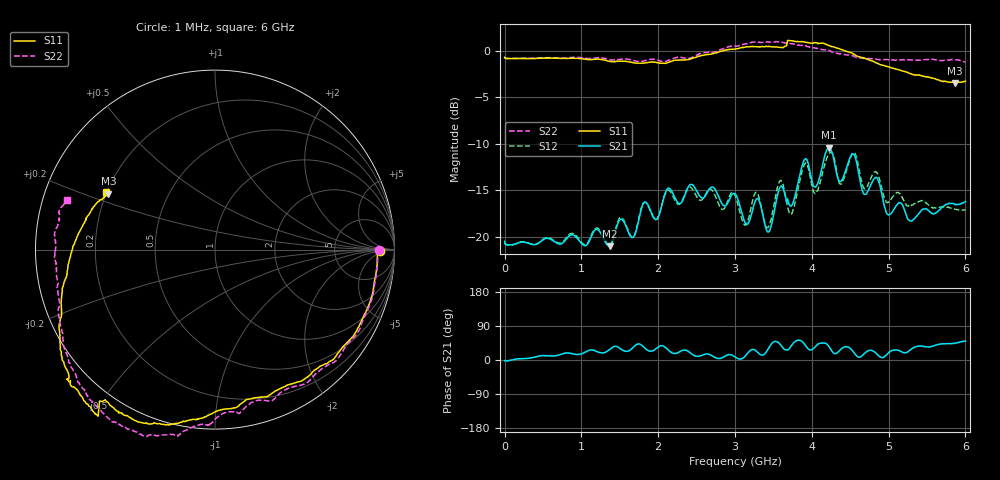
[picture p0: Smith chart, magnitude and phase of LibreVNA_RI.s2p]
# GHZ RI RI R 50.000000000000
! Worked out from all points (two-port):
!   501 points, 1 MHz to 6 GHz, reference 50 ohm
!   highest |S21| = -10.43 dB at 4.224 GHz (marker M1); lowest = -21.0 dB at 1.369 GHz (marker M2)
!   |S21| within 3 dB of the highest: 4.109 GHz to 4.33 GHz (220.3 MHz wide, 5.22 % of centre); 4.42 GHz to 4.617 GHz (196.7 MHz wide, 4.35 % of centre) (the widest 2 of 3)
!   lowest |S11| = -3.5 dB at 5.868 GHz (marker M3), VSWR 5.07, Z = 10.4 + j11.8 ohm
!   |S11| at or under -10 dB: nowhere
!   |S22| runs from -1.2 to 1.0 dB; largest |S21 - S12| = 0.042
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0.001  0.9194 -0.0064  0.0942 -0.00288  0.0927 -0.00171  0.9159 -0.00185
1.008832  0.7478 -0.5054  0.0872 0.0262  0.0881 0.0276  0.7688 -0.4946
1.368772  0.584 -0.6506  0.0785 0.0414  0.0789 0.0435  0.6097 -0.6531
1.824696  0.3303 -0.7919  0.1304 0.0804  0.1295 0.0809  0.3522 -0.8093
2.004666  0.2477 -0.8222  0.1053 0.0731  0.1029 0.0774  0.2804 -0.8412
2.136644  0.1551 -0.8522  0.165 0.0776  0.1612 0.0752  0.181 -0.8688
3.0005  -0.3168 -0.9695  0.1683 0.0238  0.1657 0.0176  -0.2256 -1.034
3.132478  -0.3959 -0.9674  0.1168 0.0207  0.1113 0.0293  -0.3244 -1.039
3.288452  -0.4715 -0.9371  0.1489 0.0584  0.1634 0.0525  -0.4096 -1.032
3.432428  -0.5439 -0.9007  0.0923 0.0512  0.0979 0.0546  -0.5124 -0.9866
3.588402  -0.5954 -0.8513  0.1388 0.1216  0.1641 0.1138  -0.5963 -0.9384
3.72038  -0.6678 -0.9145  0.1207 0.0819  0.1106 0.0715  -0.679 -0.8544
3.912348  -0.7347 -0.8321  0.2001 0.1675  0.1873 0.1608  -0.7571 -0.7423
4.008332  -0.7746 -0.7755  0.1711 0.0924  0.1609 0.0865  -0.7896 -0.6746
4.224296  -0.823 -0.6734  0.2452 0.1743  0.2099 0.1841  -0.8431 -0.5418
4.368272  -0.8614 -0.5432  0.1769 0.0879  0.1674 0.0924  -0.8604 -0.431
4.536244  -0.8684 -0.4179  0.2564 0.109  0.2418 0.1454  -0.8743 -0.3382
4.68022  -0.856 -0.3086  0.1622 0.0474  0.1682 0.0695  -0.8707 -0.2702
4.848192  -0.8388 -0.1767  0.1994 0.0562  0.2045 0.0814  -0.8758 -0.1954
5.004166  -0.8139 -0.0673  0.1228 0.0446  0.1345 0.0731  -0.8828 -0.1308
5.868022  -0.5938 0.3119  0.1056 0.1037  0.0956 0.1018  -0.8646 0.2226
6  -0.6055 0.3212  0.0993 0.1181  0.0892 0.1068  -0.8228 0.2761
